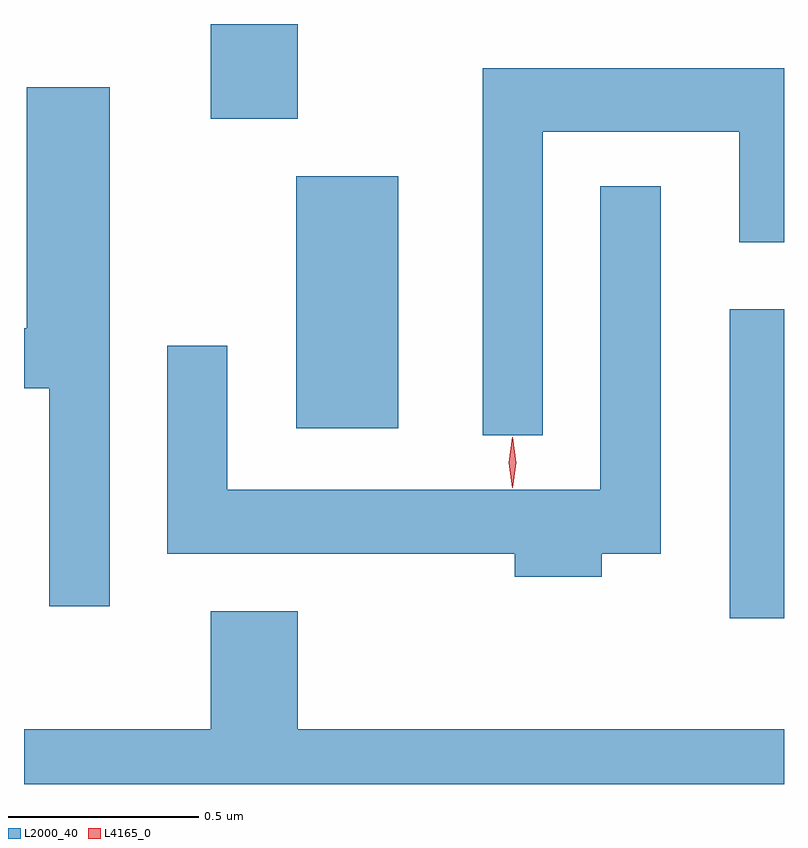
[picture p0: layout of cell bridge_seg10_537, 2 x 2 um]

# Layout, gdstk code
import gdstk
lib = gdstk.Library(unit=1e-6, precision=1e-09)
def R(c, l, rs):  # rectangles x0, y0, x1, y1
    for r in rs: c.add(gdstk.rectangle(r[:2], r[2:], *l))
def P(c, l, *ps):  # polygons
    for p in ps: c.add(gdstk.Polygon(p, *l))
L2000_40 = (2000, 40)
L4165_0 = (4165, 0)

bridge_seg10_537 = lib.new_cell('bridge_seg10_537')
R(bridge_seg10_537, L2000_40, [(904.236,2183.296,904.379,2184.109), (903.096,2183.796,903.364,2184.459), (902.871,2184.611,903.099,2184.86)])
P(bridge_seg10_537, L2000_40, [(903.744,2184.576),(904.261,2184.576),(904.261,2184.286),(904.379,2184.286),(904.379,2184.744),(903.586,2184.744),(903.586,2183.778),(903.744,2183.778)],
  [(902.604,2184.694),(902.386,2184.694),(902.386,2184.059),(902.379,2184.059),(902.379,2183.901),(902.446,2183.901),(902.446,2183.328),(902.604,2183.328)],
  [(903.899,2183.466),(904.054,2183.466),(904.054,2184.433),(903.896,2184.433),(903.896,2183.634),(902.914,2183.634),(902.914,2184.013),(902.756,2184.013),(902.756,2183.466),(903.671,2183.466),(903.671,2183.406),(903.899,2183.406)],
  [(904.379,2183.004),(903.099,2183.004),(903.099,2183.314),(902.871,2183.314),(902.871,2183.004),(902.379,2183.004),(902.379,2182.86),(904.379,2182.86)])
P(bridge_seg10_537, L4165_0, [(903.665,2183.639),(903.664,2183.64),(903.655,2183.706),(903.664,2183.772),(903.665,2183.773),(903.665,2183.772),(903.675,2183.706),(903.665,2183.64)])

lib.write_gds('bridge_seg10_537.gds')
